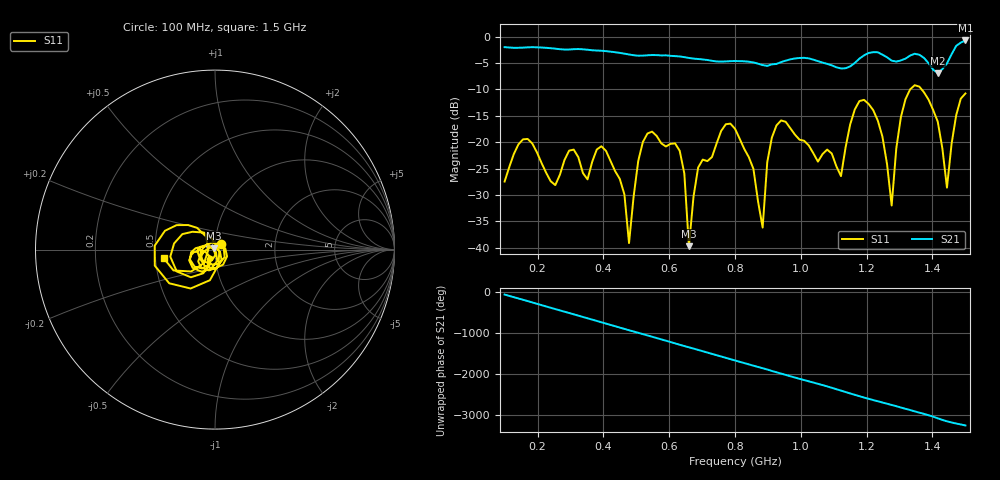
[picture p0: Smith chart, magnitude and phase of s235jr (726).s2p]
! NanoVNA-App
! Date: 2025-09-25 15:09:49
! Start: 100MHz Stop: 1,5GHz Points: 101
! S-Parameter data: F S11 S21 S12 S22
# Hz S RI R 50
!  Frequency  S11_Real  S11_Imag  S21_Real  S21_Imag  S12_Real  S12_Imag  S22_Real  S22_Imag
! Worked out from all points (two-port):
!   101 points, 100 MHz to 1.5 GHz, reference 50 ohm
!   highest |S21| = -0.69 dB at 1.5 GHz (marker M1); lowest = -6.9 dB at 1.416 GHz (marker M2)
!   |S21| within 3 dB of the highest: start of sweep to 623.6 MHz; 1.188 GHz to 1.256 GHz (68.22 MHz wide, 5.58 % of centre) (the widest 2 of 4)
!   lowest |S11| = -39.7 dB at 660 MHz (marker M3), VSWR 1.02, Z = 49.2 + j0.645 ohm
!   |S11| at or under -10 dB: start of sweep to 1.332 GHz; 1.367 GHz to end of sweep
!   S12 and S22 are empty: the file has one direction only
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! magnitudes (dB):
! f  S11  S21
! 100 MHz  -27.5  -2.0
! 156 MHz  -19.5  -2.1
! 338 MHz  -25.9  -2.4
! 408 MHz  -21.6  -2.7
! 478 MHz  -39.2  -3.4
! 520 MHz  -20.0  -3.6
! 576 MHz  -20.2  -3.5
! 632 MHz  -21.6  -3.7
! 660 MHz  -39.7  -4.0
! 688 MHz  -24.8  -4.2
! 800 MHz  -17.5  -4.6
! 884 MHz  -36.2  -5.4
! 926 MHz  -16.8  -5.2
! 1.038 GHz  -22.1  -4.3
! 1.122 GHz  -26.4  -6.0
! 1.192 GHz  -12.0  -3.5
! 1.248 GHz  -19.0  -3.4
! 1.276 GHz  -32.0  -4.5
! 1.332 GHz  -10.0  -3.6
! 1.416 GHz  -16.1  -6.9
! 1.444 GHz  -28.6  -5.1
! 1.5 GHz  -10.8  -0.7
